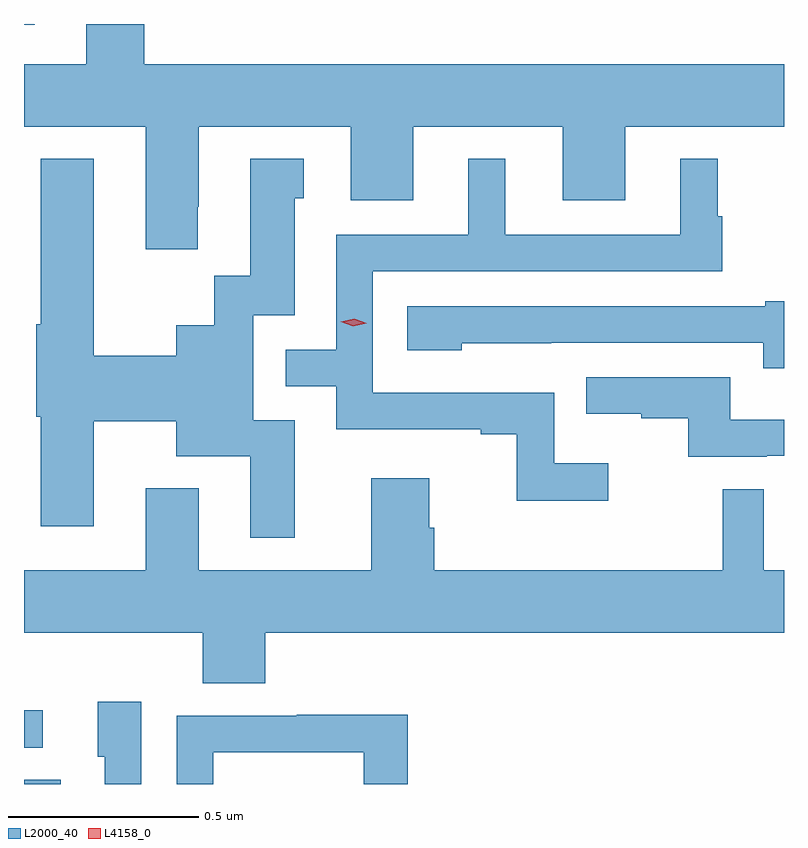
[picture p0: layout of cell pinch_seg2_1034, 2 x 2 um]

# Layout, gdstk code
import gdstk
lib = gdstk.Library(unit=1e-6, precision=1e-09)
def R(c, l, rs):  # rectangles x0, y0, x1, y1
    for r in rs: c.add(gdstk.rectangle(r[:2], r[2:], *l))
def P(c, l, *ps):  # polygons
    for p in ps: c.add(gdstk.Polygon(p, *l))
L2000_40 = (2000, 40)
L4158_0 = (4158, 0)

pinch_seg2_1034 = lib.new_cell('pinch_seg2_1034')
R(pinch_seg2_1034, L2000_40, [(243.531,584.634,243.628,584.645), (243.531,584.73,243.58,584.828), (243.531,586.632,243.559,586.634)])
P(pinch_seg2_1034, L2000_40, [(243.988,586.153),(243.991,586.153),(243.991,586.364),(244.391,586.364),(244.391,586.17),(244.555,586.17),(244.555,586.364),(244.949,586.364),(244.949,586.17),(245.113,586.17),(245.113,586.364),(245.531,586.364),(245.531,586.528),(243.848,586.528),(243.848,586.634),(243.695,586.634),(243.695,586.528),(243.531,586.528),(243.531,586.364),(243.851,586.364),(243.851,586.041),(243.988,586.041)],
  [(244.243,585.591),(244.134,585.591),(244.134,585.867),(244.243,585.867),(244.243,586.176),(244.267,586.176),(244.267,586.279),(244.127,586.279),(244.127,585.972),(244.031,585.972),(244.031,585.841),(243.932,585.841),(243.932,585.761),(243.715,585.761),(243.715,586.279),(243.575,586.279),(243.575,585.844),(243.563,585.844),(243.563,585.6),(243.575,585.6),(243.575,585.312),(243.715,585.312),(243.715,585.589),(243.932,585.589),(243.932,585.497),(244.127,585.497),(244.127,585.282),(244.243,585.282)],
  [(245.068,585.478),(244.926,585.478),(244.926,585.663),(244.449,585.663),(244.449,585.984),(245.368,585.984),(245.368,586.128),(245.356,586.128),(245.356,586.279),(245.258,586.279),(245.258,586.08),(244.798,586.08),(244.798,586.279),(244.7,586.279),(244.7,586.08),(244.353,586.08),(244.353,585.777),(244.22,585.777),(244.22,585.681),(244.353,585.681),(244.353,585.567),(244.733,585.567),(244.733,585.555),(244.828,585.555),(244.828,585.38),(245.068,585.38)],
  [(245.531,585.904),(245.481,585.904),(245.481,585.891),(244.539,585.891),(244.539,585.776),(244.683,585.776),(244.683,585.794),(244.919,585.794),(244.919,585.795),(245.477,585.795),(245.477,585.728),(245.531,585.728)],
  [(245.486,585.498),(245.531,585.498),(245.531,585.593),(245.389,585.593),(245.389,585.705),(245.011,585.705),(245.011,585.608),(245.155,585.608),(245.155,585.597),(245.279,585.597),(245.279,585.495),(245.486,585.495)],
  [(244.166,585.032),(245.531,585.032),(245.531,585.196),(245.478,585.196),(245.478,585.41),(245.37,585.41),(245.37,585.196),(244.61,585.196),(244.61,585.309),(244.597,585.309),(244.597,585.439),(244.445,585.439),(244.445,585.196),(243.991,585.196),(243.991,585.412),(243.851,585.412),(243.851,585.196),(243.531,585.196),(243.531,585.032),(244.001,585.032),(244.001,584.899),(244.166,584.899)],
  [(243.84,584.851),(243.725,584.851),(243.725,584.706),(243.744,584.706),(243.744,584.634),(243.84,584.634)],
  [(244.029,584.718),(244.425,584.718),(244.425,584.634),(244.541,584.634),(244.541,584.816),(244.249,584.816),(244.249,584.814),(243.933,584.814),(243.933,584.634),(244.029,584.634)])
P(pinch_seg2_1034, L4158_0, [(244.398,585.839),(244.365,585.851),(244.365,585.851),(244.365,585.851),(244.4,585.859),(244.433,585.846),(244.433,585.846),(244.433,585.846)])

lib.write_gds('pinch_seg2_1034.gds')
